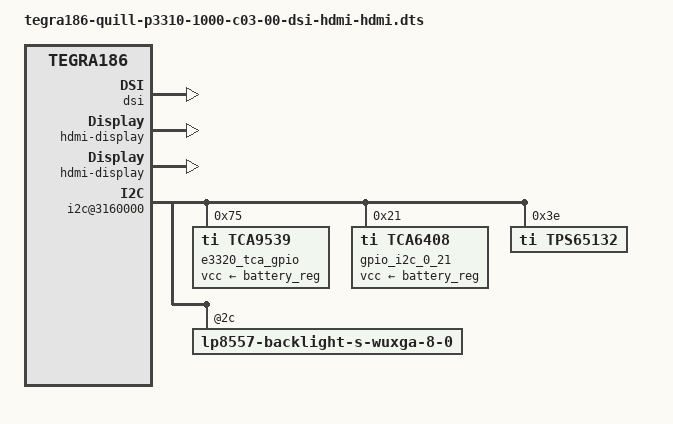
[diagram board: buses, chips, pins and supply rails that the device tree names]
/*
 * tegra186-quill-p3310-1000-c03-00-dsi-hdmi-hdmi.dts: DTS file for Quill
 * to enable display on all three heads with dual HDMI: DSI, HDMI and HDMI.
 *
 * Copyright (c) 2016-2020, NVIDIA CORPORATION.  All rights reserved.
 *
 * This program is free software; you can redistribute it and/or modify
 * it under the terms of the GNU General Public License as published by
 * the Free Software Foundation; version 2 of the License.
 *
 * This program is distributed in the hope that it will be useful, but WITHOUT
 * ANY WARRANTY; without even the implied warranty of MERCHANTABILITY or
 * FITNESS FOR A PARTICULAR PURPOSE.  See the GNU General Public License for
 * more details.
 *
 */

#include "tegra186-quill-p3310-1000-c03-00-base.dts"

/ {
	nvidia,dtsfilename = __FILE__;
	nvidia,dtbbuildtime = __DATE__, __TIME__;

	host1x {
		nvdisplay@15200000 {
			status = "okay";
			win-mask = <0x7>;
			nvidia,fb-win = <0x0>;
			nvidia,dc-or-node = "/host1x/dsi";
		};
		nvdisplay@15210000 {
			status = "okay";
			win-mask = <0x18>;
			nvidia,fb-win = <0x3>;
			nvidia,dc-or-node = "/host1x/sor1";
		};
		nvdisplay@15220000 {
			status = "okay";
			win-mask = <0x20>;
			nvidia,fb-win = <0x5>;
			nvidia,dc-or-node = "/host1x/sor";
			/delete-property/ vdd-dp-pwr-supply;
			/delete-property/ avdd-dp-pll-supply;
			/delete-property/ vdd-edp-sec-mode-supply;
			/delete-property/ vdd-dp-pad-supply;
			/delete-property/ vdd_hdmi_5v0-supply;
			avdd_hdmi-supply = <&spmic_ldo7>;
			avdd_hdmi_pll-supply = <&spmic_sd2>;
			vdd_hdmi_5v0-supply = <&vdd_hdmi>;
		};

		dsi {
			status = "okay";
			nvidia,active-panel = <&panel_s_wuxga_8_0>;
			panel-s-wuxga-8-0 {
				bootloader-status = "disabled";
				status = "okay";
			};
		};

		sor {
			status = "okay";
			nvidia,active-panel = <&sor0_hdmi_display>;
			dp-display {
				bootloader-status = "disabled";
				status = "disabled";
			};
			hdmi-display {
				status = "okay";
			};
		};

		sor1 {
			status = "okay";
			nvidia,active-panel = <&sor1_hdmi_display>;
			dp-display {
				bootloader-status = "disabled";
				status = "disabled";
			};
			hdmi-display {
				status = "okay";
			};
		};

		dpaux@155c0000 {
			status = "okay";
		};
	};

	i2c@3160000 {
		e3320_tca_gpio: tca9539@75 {
			compatible = "ti,tca9539";
			status = "okay";
			reg = <0x75>;
			gpio-controller;
			#gpio-cells = <2>;
			vcc-supply = <&battery_reg>;
			5v0_hdmi_en {
				gpio-hog;
				gpios = <14 0>;
				output-high;
				label = "hdmi_en";
			};
		};

		gpio_i2c_0_21: gpio@21 {
			compatible = "ti,tca6408";
			status = "okay";
			reg = <0x21>;
			gpio-controller;
			#gpio-cells = <2>;
			vcc-supply = <&battery_reg>;
			vpp-vmm-rails {
				gpio-hog;
				gpios = <2 0 3 0>;
				output-high;
				label = "vmm-en-rail", "vmm-en-rail";
			};
		};

		tps65132@3e {
			reg = <0x3e>;
			compatible = "ti,tps65132";
			status = "okay";
			outp {
				ti,enable-gpio = <&gpio_i2c_0_77 4 0>;
				/* WAR: remove the constrains due to bug 200479061 */
				/delete-property/ regulator-min-microvolt;
				/delete-property/ regulator-max-microvolt;
			};

			outn {
				delete-target-property = "ti,disable-active-discharge";
				ti,enable-gpio = <&gpio_i2c_0_21 2 0>;
				ti,active-discharge-gpio = <&gpio_i2c_0_21 3 0>;
				ti,active-discharge-time = <2000>; /* in us */
				/* WAR: remove the constrains due to bug 200479061 */
				/delete-property/ regulator-min-microvolt;
				/delete-property/ regulator-max-microvolt;
			};
		};

		lp8557-backlight-s-wuxga-8-0@2c {
			status = "okay";
		};
	};

	fixed-regulators {
		regulator@10 {
			gpio = <&gpio_i2c_0_21 0 0>;
		};
	};

	plugin-manager {
		/delete-node/ fragment-e3320-dp;
	};
};
